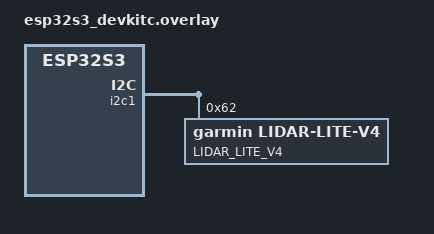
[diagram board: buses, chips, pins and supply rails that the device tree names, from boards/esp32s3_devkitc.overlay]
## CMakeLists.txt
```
#-------------------------------------------------------------------------------
# Zephyr Example Application
#
# Copyright (c) 2021 Nordic Semiconductor ASA
# SPDX-License-Identifier: Apache-2.0

cmake_minimum_required(VERSION 3.20.0)
find_package(Zephyr REQUIRED HINTS $ENV{ZEPHYR_BASE})
project(lidar_demo_app)

project(app LANGUAGES C)

target_sources(app PRIVATE src/main.c)
```

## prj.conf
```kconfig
# Copyright (c) 2021 Nordic Semiconductor ASA
# SPDX-License-Identifier: Apache-2.0
#
# This file contains selected Kconfig options for the application.

CONFIG_I2C=y
CONFIG_SENSOR=y
CONFIG_LIDAR_LITE_V4=y
```

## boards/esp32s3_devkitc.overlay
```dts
/ {
    aliases {
        lidarlite = &lidar;
    };
};


&pinctrl {
    i2c1_default: i2c1_default {
        group1 {
            pinmux = <I2C1_SDA_GPIO6>, <I2C1_SCL_GPIO15>;
            bias-pull-up;
            drive-open-drain;
            output-high;
        };
    };
};

&i2c1 {
    status = "okay";
    lidar: lidar@62 {
        compatible = "garmin,lidar-lite-v4";
        reg = <0x62>;
        label = "LIDAR_LITE_V4";
        status = "okay";
    };
};
```

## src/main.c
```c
#include <zephyr/kernel.h>
#include <stdlib.h>
#include <zephyr/device.h>
#include <zephyr/drivers/sensor.h>

int main(void)
{
    const struct device *lidar = DEVICE_DT_GET(DT_ALIAS(lidarlite));
    
    if (!device_is_ready(lidar)) {
        printk("LIDAR not ready\n");
        return EXIT_FAILURE;
    } else {
        printk("LIDAR is ready\n");
    }

    while (1) {
        if (sensor_sample_fetch(lidar)) {
            printk("sad\n");
        } else {
            printk("happy\n");
            struct sensor_value val;
            sensor_channel_get(lidar, SENSOR_CHAN_DISTANCE, &val);
            printk("Distance: %d cm\n", val.val1);
        }
        k_msleep(500);
    }

    return EXIT_SUCCESS;
}
```
